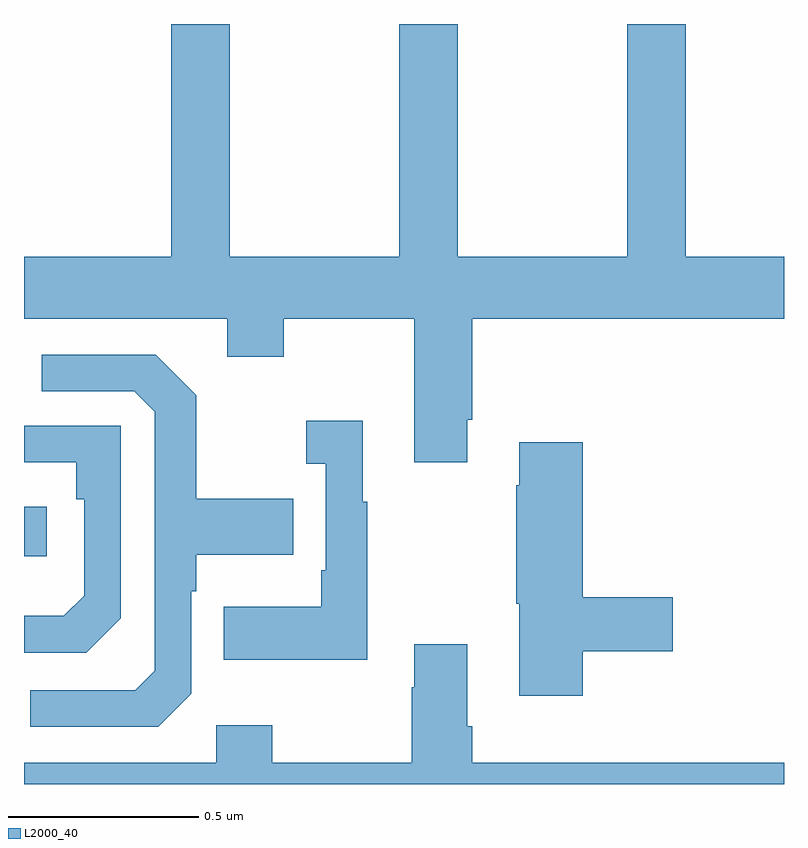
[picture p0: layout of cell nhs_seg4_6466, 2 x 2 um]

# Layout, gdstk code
import gdstk
lib = gdstk.Library(unit=1e-6, precision=1e-09)
def R(c, l, rs):  # rectangles x0, y0, x1, y1
    for r in rs: c.add(gdstk.rectangle(r[:2], r[2:], *l))
def P(c, l, *ps):  # polygons
    for p in ps: c.add(gdstk.Polygon(p, *l))
L2000_40 = (2000, 40)

nhs_seg4_6466 = lib.new_cell('nhs_seg4_6466')
R(nhs_seg4_6466, L2000_40, [(190,825.5,190.06,825.63)])
P(nhs_seg4_6466, L2000_40, [(191.167,825.859),(191.18,825.859),(191.18,826.124),(192,826.124),(192,826.288),(191.742,826.288),(191.742,826.9),(191.587,826.9),(191.587,826.288),(191.142,826.288),(191.142,826.9),(190.987,826.9),(190.987,826.288),(190.542,826.288),(190.542,826.9),(190.387,826.9),(190.387,826.288),(190,826.288),(190,826.124),(190.535,826.124),(190.535,826.025),(190.683,826.025),(190.683,826.124),(191.027,826.124),(191.027,825.747),(191.167,825.747)],
  [(190.44,825.138),(190.44,825.407),(190.453,825.407),(190.453,825.503),(190.709,825.503),(190.709,825.651),(190.453,825.651),(190.453,825.923),(190.347,826.029),(190.047,826.029),(190.047,825.933),(190.29,825.933),(190.344,825.879),(190.344,825.198),(190.293,825.147),(190.017,825.147),(190.017,825.051),(190.353,825.051)],
  [(190.903,825.643),(190.891,825.643),(190.891,825.856),(190.743,825.856),(190.743,825.743),(190.794,825.743),(190.794,825.463),(190.782,825.463),(190.782,825.367),(190.525,825.367),(190.525,825.227),(190.903,825.227)],
  [(190.254,825.336),(190.254,825.843),(190,825.843),(190,825.747),(190.138,825.747),(190.138,825.65),(190.158,825.65),(190.158,825.396),(190.105,825.343),(190,825.343),(190,825.246),(190.164,825.246)],
  [(191.471,825.25),(191.707,825.25),(191.707,825.392),(191.471,825.392),(191.471,825.799),(191.303,825.799),(191.303,825.686),(191.296,825.686),(191.296,825.375),(191.303,825.375),(191.303,825.132),(191.471,825.132)],
  [(192,824.956),(191.18,824.956),(191.18,825.052),(191.167,825.052),(191.167,825.268),(191.027,825.268),(191.027,825.155),(191.02,825.155),(191.02,824.956),(190.653,824.956),(190.653,825.055),(190.506,825.055),(190.506,824.956),(190,824.956),(190,824.9),(192,824.9)])

lib.write_gds('nhs_seg4_6466.gds')
